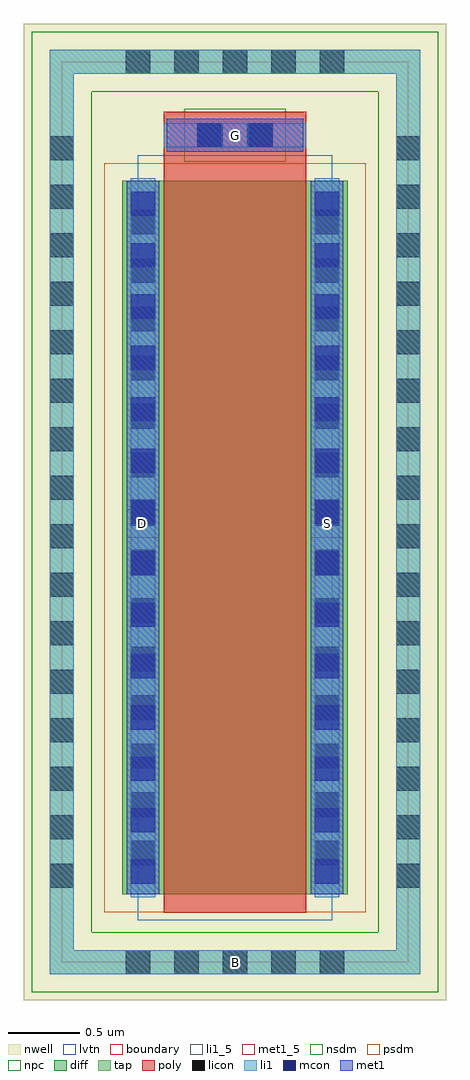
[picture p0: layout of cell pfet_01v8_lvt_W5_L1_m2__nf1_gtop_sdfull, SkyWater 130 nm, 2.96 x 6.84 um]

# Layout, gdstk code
import gdstk
lib = gdstk.Library(unit=1e-6, precision=1e-09)
def R(c, l, rs):  # rectangles x0, y0, x1, y1
    for r in rs: c.add(gdstk.rectangle(r[:2], r[2:], *l))
def A(c, l, x, y, w, h, nx, ny, dx, dy):  # array of equal rectangles
    R(c, l, [(x+i*dx, y+j*dy, x+i*dx+w, y+j*dy+h) for i in range(nx) for j in range(ny)])
nwell = (64, 20)
diff = (65, 20)
tap = (65, 44)
poly = (66, 20)
licon = (66, 44)
li1_5 = (67, 5)
li1 = (67, 20)
mcon = (67, 44)
met1_5 = (68, 5)
met1 = (68, 20)
nsdm = (93, 44)
psdm = (94, 20)
npc = (95, 20)
lvtn = (125, 44)
boundary = (235, 4)

sky130_fd_pr__pfet_01v8_ = lib.new_cell('sky130_fd_pr__pfet_01v8_lvt_FJZ45Y')
R(sky130_fd_pr__pfet_01v8_, nwell, [(-1.48,-3.42,1.48,3.42)])
R(sky130_fd_pr__pfet_01v8_, diff, [(-0.79,-2.68,0.79,2.32)])
R(sky130_fd_pr__pfet_01v8_, tap, [(-1.3,-3.24,1.3,-3.07), (-1.3,-3.07,-1.13,3.07), (1.13,-3.07,1.3,3.07), (-1.3,3.07,1.3,3.24)])
R(sky130_fd_pr__pfet_01v8_, poly, [(-0.5,-2.81,0.5,2.805)])
A(sky130_fd_pr__pfet_01v8_, licon, -0.765, -3.24, 0.17, 0.17, 5, 2, 0.34, 6.31)
A(sky130_fd_pr__pfet_01v8_, licon, -1.3, -2.635, 0.17, 0.17, 1, 16, 0, 0.34)
A(sky130_fd_pr__pfet_01v8_, licon, 1.13, -2.635, 0.17, 0.17, 1, 16, 0, 0.34)
A(sky130_fd_pr__pfet_01v8_, licon, -0.73, -2.475, 0.17, 0.17, 1, 14, 0, 0.34)
A(sky130_fd_pr__pfet_01v8_, licon, 0.56, -2.475, 0.17, 0.17, 1, 14, 0, 0.34)
R(sky130_fd_pr__pfet_01v8_, licon, [(-0.255,2.555,-0.085,2.725), (0.085,2.555,0.255,2.725)])
R(sky130_fd_pr__pfet_01v8_, li1, [(-1.3,-3.24,1.3,-3.07), (-1.3,-3.07,-1.13,3.07), (1.13,-3.07,1.3,3.07), (-0.73,-2.7,-0.56,2.34), (0.56,-2.7,0.73,2.34), (-0.5,2.555,0.5,2.725), (-1.3,3.07,1.3,3.24)])
A(sky130_fd_pr__pfet_01v8_, mcon, -0.73, -2.605, 0.17, 0.17, 1, 14, 0, 0.36)
A(sky130_fd_pr__pfet_01v8_, mcon, 0.56, -2.605, 0.17, 0.17, 1, 14, 0, 0.36)
R(sky130_fd_pr__pfet_01v8_, mcon, [(-0.265,2.555,-0.095,2.725), (0.095,2.555,0.265,2.725)])
R(sky130_fd_pr__pfet_01v8_, met1, [(-0.76,-2.68,-0.53,2.32), (0.53,-2.68,0.76,2.32), (-0.48,2.525,0.48,2.755)])
R(sky130_fd_pr__pfet_01v8_, nsdm, [(-1.425,-3.365,1.425,-2.945), (-1.425,-2.945,-1.005,2.945), (1.005,-2.945,1.425,2.945), (-1.425,2.945,1.425,3.365)])
R(sky130_fd_pr__pfet_01v8_, psdm, [(-0.915,-2.805,0.915,2.445)])
R(sky130_fd_pr__pfet_01v8_, npc, [(-0.355,2.455,0.355,2.825)])
R(sky130_fd_pr__pfet_01v8_, lvtn, [(-0.68,-2.86,0.68,2.5)])
R(sky130_fd_pr__pfet_01v8_, boundary, [(-1.215,-3.155,1.215,3.155)])
sky130_fd_pr__pfet_01v8_.add(gdstk.Label('B', (0,-3.155), layer=67, texttype=5))
sky130_fd_pr__pfet_01v8_.add(gdstk.Label('D', (-0.645,-0.18), layer=67, texttype=5))
sky130_fd_pr__pfet_01v8_.add(gdstk.Label('S', (0.645,-0.18), layer=67, texttype=5))
sky130_fd_pr__pfet_01v8_.add(gdstk.Label('G', (0,2.64), layer=67, texttype=5))

pfet_01v8_lvt_w5_l1_m2__ = lib.new_cell('pfet_01v8_lvt_W5_L1_m2__nf1_gtop_sdfull')
R(pfet_01v8_lvt_w5_l1_m2__, li1_5, [(1.13,-0.085,1.3,0.085)])
R(pfet_01v8_lvt_w5_l1_m2__, li1, [(1.13,-0.085,1.3,0.085)])
R(pfet_01v8_lvt_w5_l1_m2__, met1_5, [(0.455,2.975,0.685,3.175), (1.745,2.975,1.975,3.175), (0.735,5.68,1.695,5.91)])
R(pfet_01v8_lvt_w5_l1_m2__, met1, [(0.455,2.975,0.685,3.175), (1.745,2.975,1.975,3.175), (0.735,5.68,1.695,5.91)])
pfet_01v8_lvt_w5_l1_m2__.add(gdstk.Reference(sky130_fd_pr__pfet_01v8_, (1.215,3.155)))
pfet_01v8_lvt_w5_l1_m2__.add(gdstk.Label('D', (0.57,3.075), layer=68, texttype=5))
pfet_01v8_lvt_w5_l1_m2__.add(gdstk.Label('S', (1.86,3.075), layer=68, texttype=5))
pfet_01v8_lvt_w5_l1_m2__.add(gdstk.Label('G', (1.215,5.795), layer=68, texttype=5))
pfet_01v8_lvt_w5_l1_m2__.add(gdstk.Label('B', (1.215,0), layer=67, texttype=5))

lib.write_gds('pfet_01v8_lvt_W5_L1_m2__nf1_gtop_sdfull.gds')
